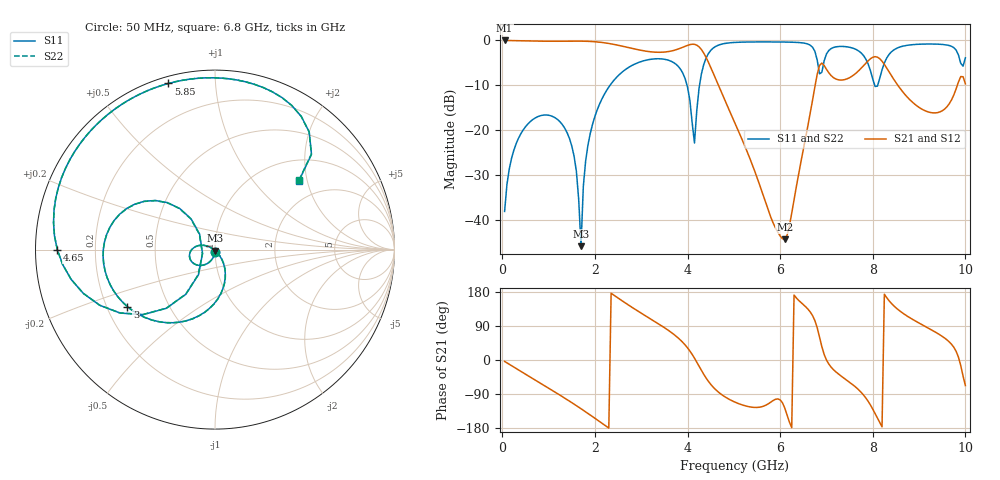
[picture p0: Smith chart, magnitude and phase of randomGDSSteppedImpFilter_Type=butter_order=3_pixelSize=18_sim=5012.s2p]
! freq	dB(S11)	phase(S11)	dB(S12)	phase(S12)
!  dB(S21)	phase(S21)	dB(S22)	phase(S22)
!S-par simulation data
#  GHz  S  DB  R 50
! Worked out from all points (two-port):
!   200 points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, 50 MHz to 10 GHz, reference 50 ohm
!   highest |S21| = -0.01 dB at 50 MHz (marker M1); lowest = -44.2 dB at 6.1 GHz (marker M2)
!   |S21| within 3 dB of the highest: start of sweep to 4.36 GHz
!   lowest |S11| = -45.7 dB at 1.7 GHz (marker M3), VSWR 1.01, Z = 50 - j0.515 ohm
!   |S11| at or under -10 dB: start of sweep to 2.326 GHz; 3.989 GHz to 4.259 GHz (269.7 MHz wide, 6.54 % of centre); 8.043 GHz to 8.105 GHz (62.19 MHz wide, 0.77 % of centre)
!   |S22| runs from -46.6 to -0.3 dB; largest |S21 - S12| = 0
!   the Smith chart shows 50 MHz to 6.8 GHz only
!   S11 on the Smith chart (normalised r, x): 50 MHz: 1.00, -0.03; 3 GHz: 0.29, -0.27; 4.65 GHz: 0.06, -0.00; 5.85 GHz: 0.03, +0.76; 6.8 GHz: 1.47, +1.78
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0.05  -38.01 -89.2  -0.01 -3.8  -0.01 -3.8  -38.01 -89.3
0.35  -21.76 -116.2  -0.07 -26.2  -0.07 -26.2  -21.76 -116.2
1.1  -16.97 -171.7  -0.19 -81.8  -0.19 -81.8  -16.97 -171.8
1.55  -25.72 156.5  -0.16 -116.5  -0.16 -116.5  -25.73 155.9
1.7  -45.74 -94.4  -0.17 -128.6  -0.17 -128.6  -46.57 -89.4
1.75  -32.40 -53.3  -0.18 -132.7  -0.18 -132.7  -32.43 -51.5
2.15  -13.05 -78.7  -0.46 -166.7  -0.46 -166.7  -13.05 -78.4
3  -4.70 -147.0  -2.21 123.6  -2.21 123.6  -4.69 -146.9
3.4  -4.09 -176.4  -2.65 93.3  -2.65 93.3  -4.09 -176.3
3.95  -8.57 135.4  -1.30 39.4  -1.30 39.4  -8.56 135.6
4.15  -22.81 -162.9  -0.87 4.9  -0.87 4.9  -22.67 -163.1
4.3  -7.44 -129.6  -2.03 -27.4  -2.03 -27.4  -7.43 -129.8
4.65  -1.13 -179.8  -9.57 -82.9  -9.57 -82.9  -1.13 -179.8
5.05  -0.44 148.3  -19.00 -112.6  -19.00 -112.6  -0.44 148.3
5.85  -0.34 105.7  -40.62 -106.8  -40.62 -106.8  -0.34 105.7
6.1  -0.37 93.2  -44.21 -126.9  -44.21 -126.9  -0.37 93.2
6.7  -1.52 51.3  -13.27 117.1  -13.27 117.1  -1.52 51.4
6.8  -4.36 39.4  -7.54 85.4  -7.54 85.4  -4.34 39.6
6.95  -4.53 80.2  -5.58 14.9  -5.58 14.9  -4.52 80.2
7.9  -5.25 5.4  -4.54 -108.9  -4.54 -108.9  -5.22 5.7
8.35  -3.14 45.6  -6.95 156.7  -6.95 156.7  -3.13 45.3
10  -3.88 -25.1  -9.65 -67.5  -9.65 -67.5  -3.69 -26.5
